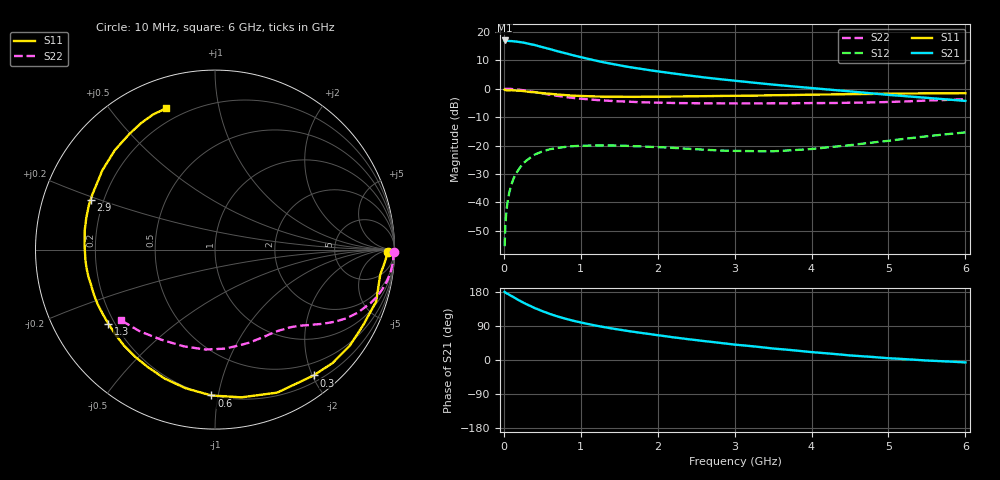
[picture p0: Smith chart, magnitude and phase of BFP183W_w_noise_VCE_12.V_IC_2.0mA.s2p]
! Infineon Technologies  Discrete & RF Semiconductors
! BFP183W
! VCE =  12. V,  IC =  2.0 mA
! Common Emitter S-Parameters:  Jan 2017
# GHz  S  MA  R  50
!  f  S11  S21  S12  S22
! GHz  MAG  ANG  MAG  ANG  MAG  ANG  MAG  ANG
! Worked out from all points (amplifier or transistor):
!   77 points, 10 MHz to 6 GHz, reference 50 ohm
!   highest |S21| = 17.0 dB at 10 MHz (marker M1)
!   |S21| within 3 dB of that: start of sweep to 593.7 MHz
!   unconditionally stable (mu >= 1): 2.84 GHz to 4.651 GHz
!   at 130 MHz: K = 0.05, MSG = 24.0 dB, |S12| = -31.4 dB
!   at 2.2 GHz: K = 0.77, MSG = 13.1 dB, |S12| = -20.8 dB
!   at 6 GHz: K = 0.74, MSG = 5.5 dB, |S12| = -15.4 dB
!   lowest NFmin = 0.76 dB at 450 MHz
!   S11 on the Smith chart (normalised r, x): 10 MHz: 45, -19; 300 MHz: 0.30, -2.02; 600 MHz: 0.20, -0.96; 1.3 GHz: 0.18, -0.30; 2.9 GHz: 0.15, +0.19; 6 GHz: 0.14, +0.70
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0.01  0.9633 -0.9  7.047 179.9  0.0017 76.4  1 -0.7
0.02  0.9456 -4.9  7.023 177.8  0.004 85.4  0.9932 -1.4
0.03  0.9402 -6.2  6.993 176.7  0.0062 83.6  0.9937 -2.1
0.08  0.9356 -14.2  6.889 171.1  0.0167 81.0  0.9902 -5.5
0.15  0.9267 -27.0  6.771 163.0  0.0308 74.2  0.975 -10.3
0.2  0.9224 -35.4  6.621 157.2  0.0393 70.1  0.9584 -13.3
0.3  0.8909 -51.9  6.272 146.6  0.0552 60.6  0.9163 -19.0
0.4  0.8689 -66.5  5.861 137.2  0.0691 53.1  0.8703 -23.8
0.5  0.8363 -79.8  5.389 129.0  0.0788 46.3  0.8246 -27.7
0.6  0.8129 -91.4  4.963 121.5  0.0862 40.3  0.7827 -30.8
0.7  0.7896 -102.0  4.546 114.8  0.0907 35.3  0.7459 -33.3
0.8  0.7713 -111.3  4.199 109.0  0.0947 31.6  0.7148 -35.5
0.9  0.7542 -119.6  3.869 103.7  0.0974 28.0  0.6882 -37.4
1.1  0.737 -133.5  3.334 94.8  0.0999 22.9  0.6494 -40.6
1.3  0.7236 -145.2  2.909 86.9  0.1005 18.3  0.6203 -43.6
1.6  0.7199 -159.5  2.438 76.9  0.0989 14.5  0.5927 -48.0
2.1  0.7245 -178.6  1.934 62.8  0.0924 11.8  0.5636 -56.1
2.9  0.7463 158.3  1.427 43.1  0.0812 16.9  0.5514 -71.4
3.1  0.7506 153.6  1.338 38.8  0.0802 20.2  0.55 -75.5
4.1  0.7879 133.5  0.998 19.2  0.0897 38.9  0.5586 -98.0
5.1  0.8182 119.0  0.76 3.6  0.126 47.9  0.5892 -123.3
6  0.8329 109.0  0.609 -6.4  0.1703 46.1  0.6546 -142.9
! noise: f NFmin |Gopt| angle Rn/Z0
0.45  0.76  0.48  45  0.22
0.9  0.95  0.41  86  0.19
1.9  1.77  0.52  156  0.09
2.4  2.08  0.55  173  0.09
